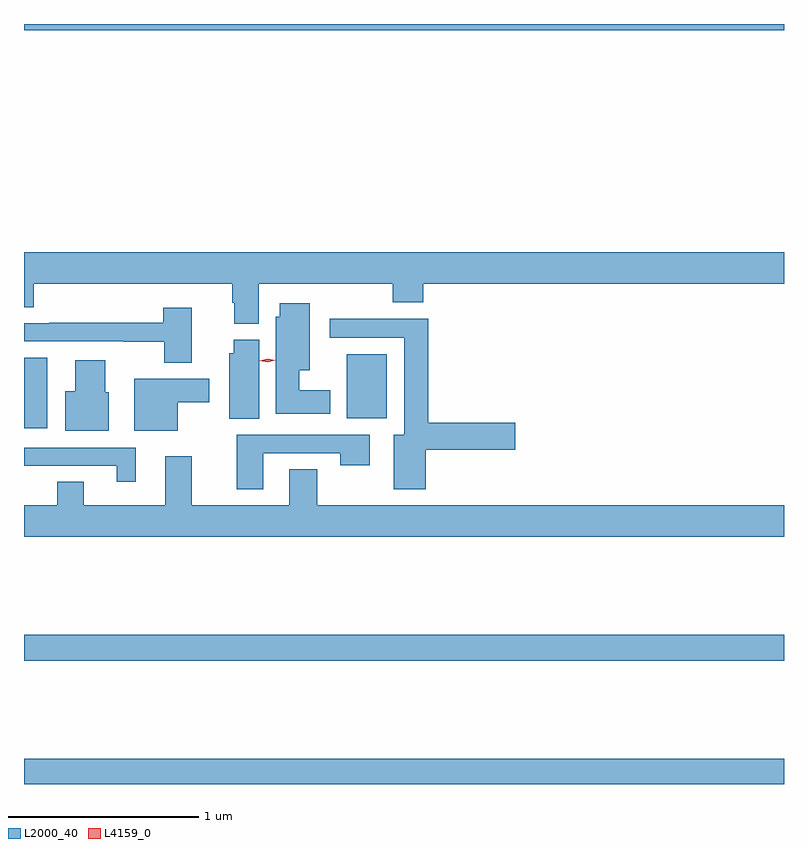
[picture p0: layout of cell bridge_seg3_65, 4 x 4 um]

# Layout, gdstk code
import gdstk
lib = gdstk.Library(unit=1e-6, precision=1e-09)
def R(c, l, rs):  # rectangles x0, y0, x1, y1
    for r in rs: c.add(gdstk.rectangle(r[:2], r[2:], *l))
def P(c, l, *ps):  # polygons
    for p in ps: c.add(gdstk.Polygon(p, *l))
L2000_40 = (2000, 40)
L4159_0 = (4159, 0)

bridge_seg3_65 = lib.new_cell('bridge_seg3_65')
R(bridge_seg3_65, L2000_40, [(525.452,706.274,529.452,706.408), (525.452,706.924,529.452,707.06), (525.452,708.147,525.574,708.518), (527.15,708.2,527.362,708.535), (525.452,710.24,529.452,710.274)])
P(bridge_seg3_65, L2000_40, [(526.687,708.908),(527.392,708.908),(527.392,708.809),(527.552,708.809),(527.552,708.908),(529.452,708.908),(529.452,709.072),(525.452,709.072),(525.452,708.784),(525.503,708.784),(525.503,708.908),(526.547,708.908),(526.547,708.807),(526.559,708.807),(526.559,708.697),(526.687,708.697)],
  [(527.065,708.346),(526.9,708.346),(526.9,708.452),(526.957,708.452),(526.957,708.805),(526.799,708.805),(526.799,708.732),(526.778,708.732),(526.778,708.224),(527.065,708.224)],
  [(526.336,708.781),(526.184,708.781),(526.184,708.701),(525.586,708.701),(525.586,708.699),(525.452,708.699),(525.452,708.603),(525.976,708.603),(525.976,708.602),(526.189,708.602),(526.189,708.491),(526.336,708.491)],
  [(527.566,708.034),(528.037,708.034),(528.037,708.176),(527.579,708.176),(527.579,708.722),(527.061,708.722),(527.061,708.624),(527.453,708.624),(527.453,708.112),(527.399,708.112),(527.399,707.826),(527.566,707.826)],
  [(526.69,708.612),(526.556,708.612),(526.556,708.54),(526.532,708.54),(526.532,708.196),(526.69,708.196)],
  [(525.898,708.336),(525.88,708.336),(525.88,708.505),(525.722,708.505),(525.722,708.34),(525.668,708.34),(525.668,708.134),(525.898,708.134)],
  [(526.261,708.284),(526.426,708.284),(526.426,708.406),(526.031,708.406),(526.031,708.134),(526.261,708.134)],
  [(526.711,708.015),(527.116,708.015),(527.116,707.952),(527.272,707.952),(527.272,708.111),(526.571,708.111),(526.571,707.826),(526.711,707.826)],
  [(526.039,708.045),(525.452,708.045),(525.452,707.949),(525.941,707.949),(525.941,707.865),(526.039,707.865)],
  [(529.452,707.74),(526.995,707.74),(526.995,707.93),(526.847,707.93),(526.847,707.74),(526.336,707.74),(526.336,707.998),(526.196,707.998),(526.196,707.74),(525.766,707.74),(525.766,707.864),(525.626,707.864),(525.626,707.74),(525.452,707.74),(525.452,707.576),(529.452,707.576)])
P(bridge_seg3_65, L4159_0, [(526.734,708.494),(526.693,708.502),(526.693,708.502),(526.693,708.502),(526.734,708.513),(526.775,708.505),(526.775,708.505),(526.775,708.505)])

lib.write_gds('bridge_seg3_65.gds')
